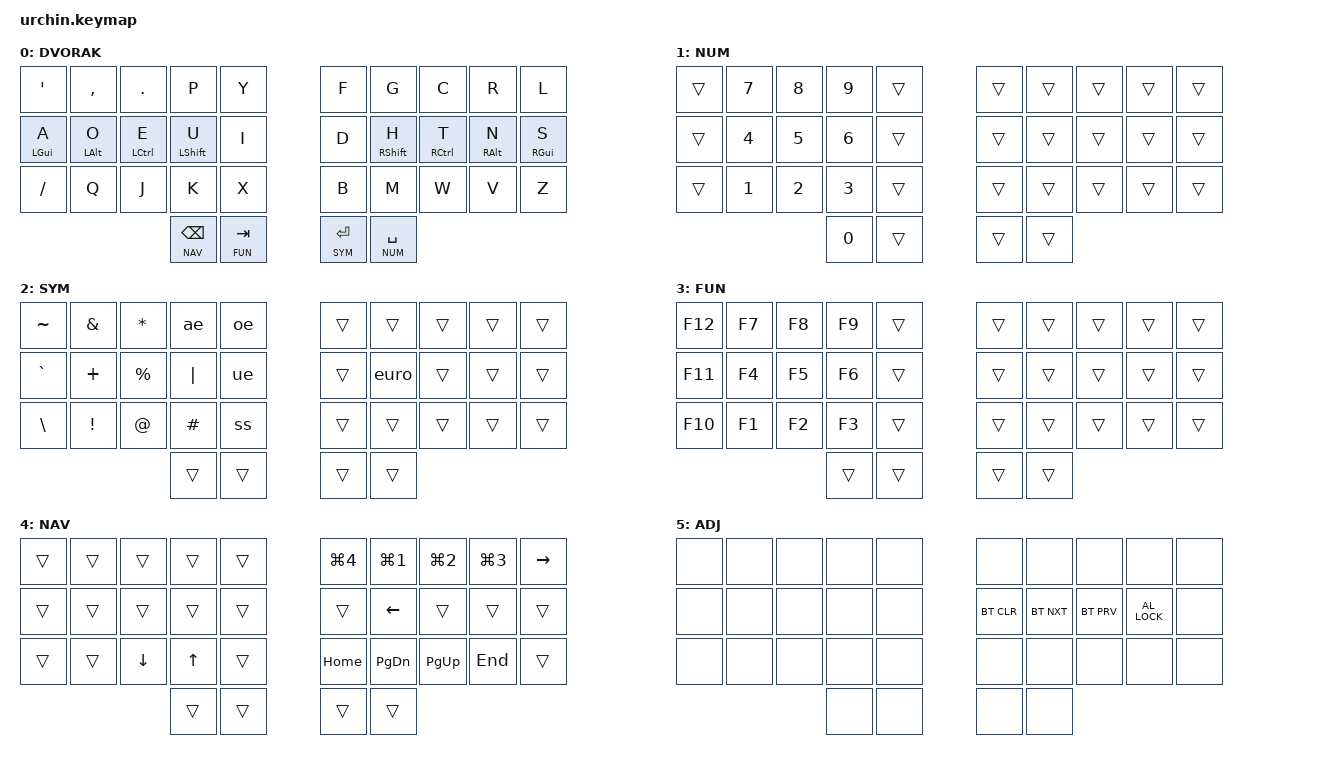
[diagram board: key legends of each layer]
#include <behaviors.dtsi>
#include <dt-bindings/zmk/keys.h>
#include <dt-bindings/zmk/bt.h>

// Layer definitions
#define DVORAK 0
#define NUM    1
#define SYM    2
#define FUN    3
#define NAV    4
#define ADJ    5
// -----------------

&lt {
    quick-tap-ms = <200>;
};

/ {
    macros {
        ZMK_MACRO(ae,
            bindings = <&kp K_APP &kp A &kp DOUBLE_QUOTES>;
        )
        ZMK_MACRO(oe,
            bindings = <&kp K_APP &kp O &kp DOUBLE_QUOTES>;
        )
        ZMK_MACRO(ue,
            bindings = <&kp K_APP &kp U &kp DOUBLE_QUOTES>;
        )
        ZMK_MACRO(ss,
            bindings = <&kp K_APP &kp S &kp S>;
        )
        ZMK_MACRO(euro,
            bindings = <&kp K_APP &kp C &kp EQUAL>;
        )
        ZMK_MACRO(arrow,
            bindings = <&kp MINUS &kp GREATER_THAN>;
        )
        ZMK_MACRO(vim_write,
            bindings = <&kp ESC &kp LS(SEMICOLON) &kp W &kp A &kp RETURN>;
        )
        ZMK_MACRO(vim_close,
            bindings = <&kp ESC &kp LS(SEMICOLON) &kp Q &kp A &kp RETURN>;
        )
        ZMK_MACRO(zellij_floating,
            bindings = <&kp LC(P) &kp W>;
        )
    };

	combos {
		compatible = "zmk,combos";
		combo_del {
			timeout-ms = <50>;
			key-positions = <30 31>;
			bindings = <&kp DEL>;
		};
		combo_lpar {
			timeout-ms = <50>;
			key-positions = <2 3>;
			bindings = <&kp LPAR>;
		};
		combo_rpar {
			timeout-ms = <50>;
			key-positions = <6 7>;
			bindings = <&kp RPAR>;
		};
		combo_equal {
			timeout-ms = <50>;
			key-positions = <11 12>;
			bindings = <&kp EQUAL>;
		};
		combo_underscore {
			timeout-ms = <50>;
			key-positions = <12 13>;
			bindings = <&kp UNDERSCORE>;
		};
		combo_esc {
			timeout-ms = <50>;
			key-positions = <16 17>;
			bindings = <&kp ESC>;
		};
        combo_colon {
            timeout-ms = <50>;
            key-positions = <17 18>;
            bindings = <&kp LS(SEMICOLON)>;
        };
        combo_caps_word {
            timeout-ms = <50>;
            key-positions = <13 16>;
            bindings = <&caps_word>;
        };
        combo_caret {
            timeout-ms = <50>;
            key-positions = <26 27>;
            bindings = <&kp CARET>;
        };
        combo_dollar {
            timeout-ms = <50>;
            key-positions = <27 28>;
            bindings = <&kp DOLLAR>;
        };
        combo_arrow {
            timeout-ms = <50>;
            key-positions = <3 13>;
            bindings = <&arrow>;
        };
        combo_minus {
            timeout-ms = <50>;
            key-positions = <22 23>;
            bindings = <&kp MINUS>;
        };
        combo_semicolon {
            timeout-ms = <50>;
            key-positions = <21 22>;
            bindings = <&kp SEMICOLON>;
        };
        combo_vim_write {
            timeout-ms = <50>;
            key-positions = <11 12 13>;
            bindings = <&vim_write>;
        };
        combo_vim_close {
            timeout-ms = <50>;
            key-positions = <16 17 18>;
            bindings = <&vim_close>;
        };
        combo_zellij_floating {
            timeout-ms = <50>;
            key-positions = <6 16>;
            bindings = <&zellij_floating>;
        };
        combo_left_bracket {
            timeout-ms = <50>;
            key-positions = <1 2>;
            bindings = <&kp LEFT_BRACKET>;
        };
        combo_right_bracket {
            timeout-ms = <50>;
            key-positions = <7 8>;
            bindings = <&kp RIGHT_BRACKET>;
        };
        combo_left_brace {
            timeout-ms = <50>;
            key-positions = <10 11>;
            bindings = <&kp LEFT_BRACE>;
        };
        combo_right_brace {
            timeout-ms = <50>;
            key-positions = <18 19>;
            bindings = <&kp RIGHT_BRACE>;
        };
	};
    
    behaviors {
        bhm: balanced_homerow_mods {
            compatible = "zmk,behavior-hold-tap";
            label = "HOMEROW_MODS";
            #binding-cells = <2>;
            tapping-term-ms = <200>;
            quick-tap-ms = <0>;
            flavor = "balanced";
            bindings = <&kp>, <&kp>; 
        };
    };

    conditional_layers {
        compatible = "zmk,conditional-layers";
        try_layer {
            if-layers = <1 4>;
            then-layer = <5>;
        };
    };

	keymap {
		compatible = "zmk,keymap";
		dvorak_layer {
			label = "DVORAK";
			bindings = <
			&kp SINGLE_QUOTE &kp COMMA   &kp DOT      &kp P             &kp Y          &kp F          &kp G         &kp C        &kp R       &kp L 
			&bhm LGUI A      &bhm LALT O &bhm LCTRL E &bhm LSHIFT U     &kp I          &kp D          &bhm RSHIFT H &bhm RCTRL T &bhm RALT N &bhm RGUI S
			&kp SLASH        &kp Q       &kp J        &kp K             &kp X          &kp B          &kp M         &kp W        &kp V       &kp Z
							                          &lt NAV BACKSPACE &lt FUN TAB    &lt SYM RETURN &lt NUM SPACE
			>;
		};

		num_layer {
			label = "NUM";
			bindings = <
			&trans &kp N7 &kp N8 &kp N9 &trans    &trans &trans &trans &trans &trans
			&trans &kp N4 &kp N5 &kp N6 &trans    &trans &trans &trans &trans &trans
			&trans &kp N1 &kp N2 &kp N3 &trans    &trans &trans &trans &trans &trans
								 &kp N0 &trans    &trans &trans
			>;
		};

		sym_layer {
			label = "SYM";
			bindings = <
			&kp TILDE     &kp AMPERSAND   &kp ASTERISK &ae      &oe       &trans &trans &trans &trans &trans
			&kp GRAVE     &kp PLUS        &kp PERCENT  &kp PIPE &ue       &trans &euro  &trans &trans &trans
			&kp BACKSLASH &kp EXCLAMATION &kp AT_SIGN  &kp HASH &ss	      &trans &trans &trans &trans &trans
								   &trans   &trans    &trans &trans
			>;
		};

		fun_layer {
			label = "FUN";
			bindings = <
			&kp F12 &kp F7 &kp F8 &kp F9 &trans    &trans &trans &trans &trans &trans
			&kp F11 &kp F4 &kp F5 &kp F6 &trans    &trans &trans &trans &trans &trans
			&kp F10 &kp F1 &kp F2 &kp F3 &trans    &trans &trans &trans &trans &trans
							      &trans &trans    &trans &trans  
			>;
		};

        nav_layer {
			label = "NAV";
			bindings = <
			&trans &trans &trans   &trans &trans    &kp LG(N4) &kp LG(N1) &kp LG(N2) &kp LG(N3) &kp RIGHT
			&trans &trans &trans   &trans &trans    &trans     &kp LEFT   &trans     &trans     &trans
			&trans &trans &kp DOWN &kp UP &trans    &kp HOME   &kp PG_DN  &kp PG_UP  &kp END    &trans
					       &trans &trans    &trans     &trans 
			>;
		};

        adj_layer {
            label = "ADJ";
            bindings = <
			&none &none &none &none &none    &none      &none      &none      &none         &none
			&none &none &none &none &none    &bt BT_CLR &bt BT_NXT &bt BT_PRV &kp C_AL_LOCK &none
			&none &none &none &none &none    &none      &none      &none      &none         &none
							  &none &none    &none      &none  
			>;
        };
	};
};
